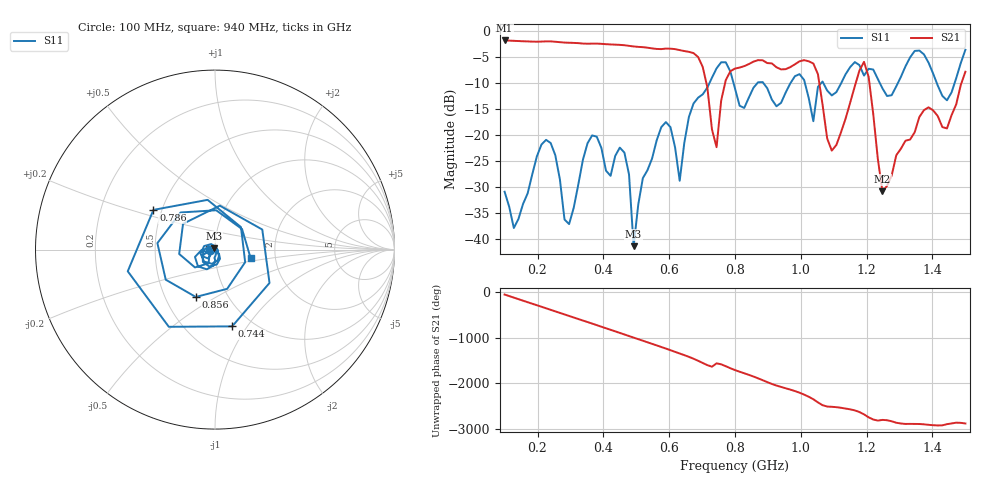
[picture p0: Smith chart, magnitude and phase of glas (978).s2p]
! NanoVNA-App
! Date: 2025-09-25 16:03:05
! Start: 100MHz Stop: 1,5GHz Points: 101
! S-Parameter data: F S11 S21 S12 S22
# Hz S RI R 50
!  Frequency  S11_Real  S11_Imag  S21_Real  S21_Imag  S12_Real  S12_Imag  S22_Real  S22_Imag
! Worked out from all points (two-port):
!   101 points, 100 MHz to 1.5 GHz, reference 50 ohm
!   highest |S21| = -1.80 dB at 100 MHz (marker M1); lowest = -30.9 dB at 1.248 GHz (marker M2)
!   |S21| within 3 dB of the highest: start of sweep to 684.4 MHz
!   lowest |S11| = -41.4 dB at 492 MHz (marker M3), VSWR 1.02, Z = 49.5 + j0.659 ohm
!   |S11| at or under -10 dB: start of sweep to 722.4 MHz; 795.5 MHz to 868.1 MHz (72.57 MHz wide, 8.72 % of centre); 886.2 MHz to 968.6 MHz (82.45 MHz wide, 8.89 % of centre) (the widest 3 of 7)
!   S12 and S22 are empty: the file has one direction only
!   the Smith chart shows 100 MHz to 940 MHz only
!   S11 on the Smith chart (normalised r, x): 100 MHz: 0.94, -0.01; 744 MHz: 0.81, -0.85; 786 MHz: 0.45, +0.24; 856 MHz: 0.71, -0.41; 940 MHz: 1.49, -0.15
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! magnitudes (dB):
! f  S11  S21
! 100 MHz  -30.9  -1.8
! 128 MHz  -37.9  -1.9
! 226 MHz  -20.9  -2.0
! 296 MHz  -37.1  -2.2
! 338 MHz  -24.7  -2.4
! 464 MHz  -23.4  -2.7
! 492 MHz  -41.4  -3.0
! 576 MHz  -18.5  -3.5
! 632 MHz  -28.8  -3.7
! 702 MHz  -12.2  -6.9
! 744 MHz  -7.2  -22.3
! 786 MHz  -7.8  -7.7
! 800 MHz  -11.1  -7.2
! 856 MHz  -10.9  -5.9
! 940 MHz  -13.8  -7.4
! 996 MHz  -8.3  -5.8
! 1.038 GHz  -17.3  -6.2
! 1.094 GHz  -12.4  -23.0
! 1.192 GHz  -8.6  -5.9
! 1.248 GHz  -11.0  -30.9
! 1.276 GHz  -12.3  -27.8
! 1.5 GHz  -3.6  -7.8
